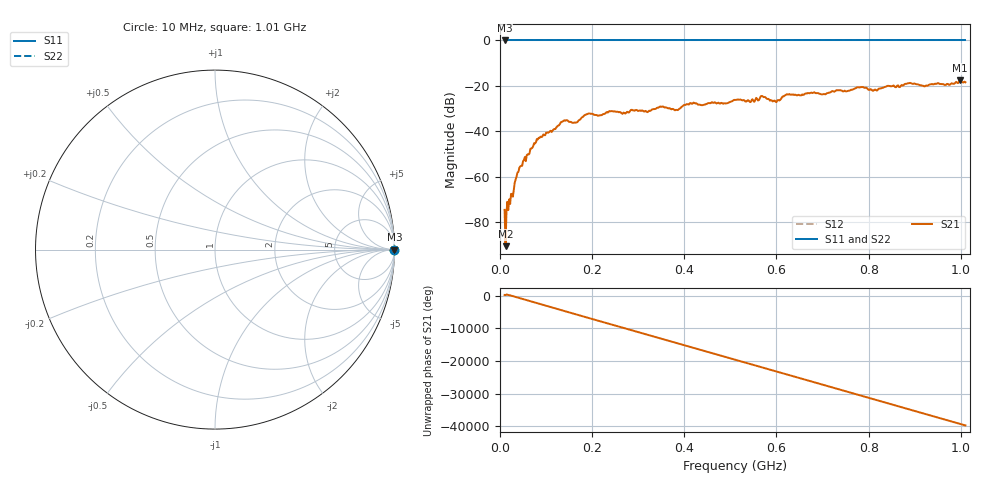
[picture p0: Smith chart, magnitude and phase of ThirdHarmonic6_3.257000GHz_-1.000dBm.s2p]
! 8/17/2025 10:02:30 AM
! C:\ANRITSUVNA\TEMP\TEMP.S2P
! CHANNEL.1
! TR.MEASUREMENT
! RAW.DATA
! RF.CORRECTION.OFF
! AVERAGING.OFF
! IF.BANDWIDTH: 5KHZ
! SWEEPTYPE:  FREQ.SWEEP(Linear)
! Reference Plane Port Info
! PORT:  PORT1  PORT2
! DISTANCE:  0  m  0  m
! TIME:  0  s  0  s
! PHASE.OFFSET:  0  deg.  0  deg.
! LOSS:  0  dB  0  dB
! REF.LOSS:  0  dB  0  dB
! REF.FREQ:  0  Hz  0  Hz
! Power Info
! POWER:  -20  dBm  -20  dBm
! EFF.POWER:  -20  dBm  -20  dBm
! SOURCE.ATTEN:  0  dB  0  dB
! TEST.ATTEN:  0  dB  0  dB
# GHZ S RI R 50.0
! FREQ.GHZ  S11RE  S11IM  S21RE  S21IM  S12RE  S12IM  S22RE  S22IM
!; PortSelection: Port_12
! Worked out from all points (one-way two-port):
!   501 points, 10 MHz to 1.01 GHz, reference 50 ohm
!   highest |S21| = -17.43 dB at 998 MHz (marker M1); lowest = -90.4 dB at 12 MHz (marker M2)
!   lowest |S11| = 0.0 dB at 10 MHz (marker M3)
!   |S11| at or under -10 dB: nowhere
!   |S22| runs from 0.0 to 0.0 dB; largest |S21 - S12| = 1.1
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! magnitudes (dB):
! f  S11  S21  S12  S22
! 10 MHz  0.0  -74.4  0.0  0.0
! 12 MHz  0.0  -90.4  0.0  0.0
! 26 MHz  0.0  -67.5  0.0  0.0
! 40 MHz  0.0  -57.8  0.0  0.0
! 78 MHz  0.0  -44.7  0.0  0.0
! 136 MHz  0.0  -35.6  0.0  0.0
! 164 MHz  0.0  -36.1  0.0  0.0
! 178 MHz  0.0  -33.8  0.0  0.0
! 344 MHz  0.0  -29.5  0.0  0.0
! 382 MHz  0.0  -30.5  0.0  0.0
! 416 MHz  0.0  -27.8  0.0  0.0
! 510 MHz  0.0  -26.1  0.0  0.0
! 548 MHz  0.0  -25.8  0.0  0.0
! 570 MHz  0.0  -24.5  0.0  0.0
! 596 MHz  0.0  -26.4  0.0  0.0
! 624 MHz  0.0  -23.7  0.0  0.0
! 678 MHz  0.0  -23.1  0.0  0.0
! 784 MHz  0.0  -20.5  0.0  0.0
! 814 MHz  0.0  -21.6  0.0  0.0
! 844 MHz  0.0  -20.0  0.0  0.0
! 998 MHz  0.0  -17.4  0.0  0.0
! 1.01 GHz  0.0  -18.4  0.0  0.0
